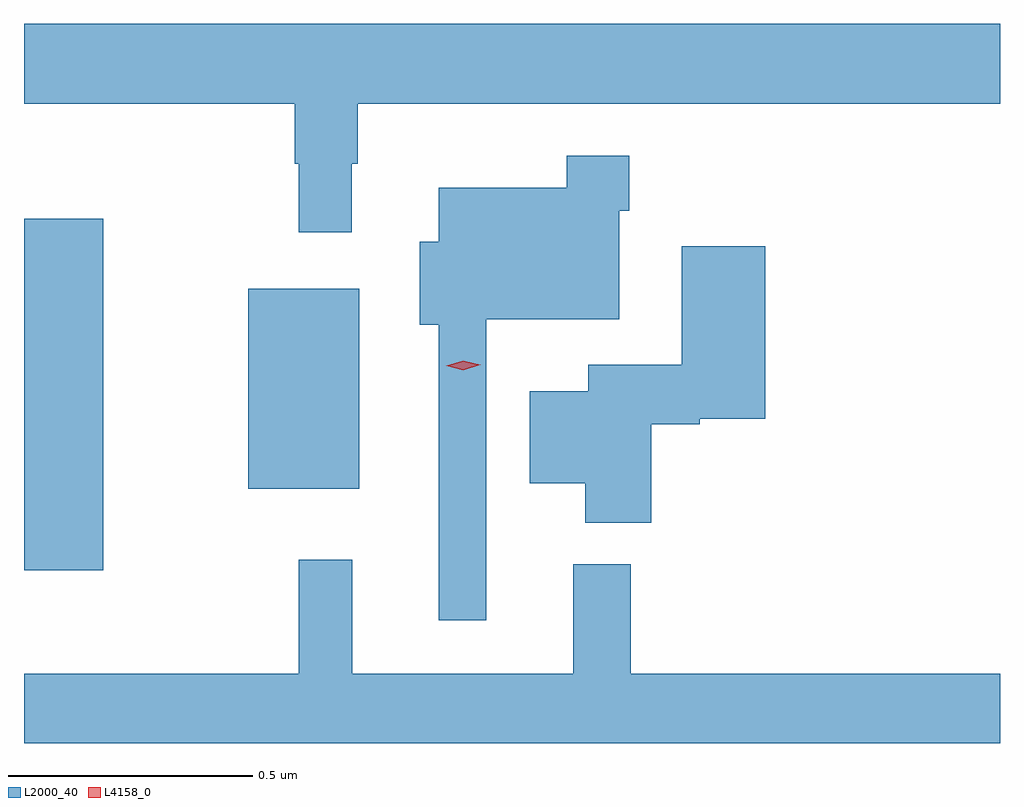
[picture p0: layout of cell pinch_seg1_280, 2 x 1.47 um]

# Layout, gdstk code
import gdstk
lib = gdstk.Library(unit=1e-6, precision=1e-09)
def R(c, l, rs):  # rectangles x0, y0, x1, y1
    for r in rs: c.add(gdstk.rectangle(r[:2], r[2:], *l))
def P(c, l, *ps):  # polygons
    for p in ps: c.add(gdstk.Polygon(p, *l))
L2000_40 = (2000, 40)
L4158_0 = (4158, 0)

pinch_seg1_280 = lib.new_cell('pinch_seg1_280')
R(pinch_seg1_280, L2000_40, [(926.345,556.104,926.506,556.825), (926.804,556.271,927.031,556.681)])
P(pinch_seg1_280, L2000_40, [(926.344,557.06),(926.899,557.06),(926.899,556.937),(926.907,556.937),(926.907,556.797),(927.016,556.797),(927.016,556.937),(927.028,556.937),(927.028,557.06),(928.344,557.06),(928.344,557.224),(926.344,557.224)],
  [(927.291,556.619),(927.564,556.619),(927.564,556.841),(927.584,556.841),(927.584,556.954),(927.456,556.954),(927.456,556.888),(927.194,556.888),(927.194,556.777),(927.155,556.777),(927.155,556.607),(927.194,556.607),(927.194,556.002),(927.291,556.002)],
  [(927.629,556.403),(927.729,556.403),(927.729,556.415),(927.863,556.415),(927.863,556.768),(927.692,556.768),(927.692,556.525),(927.5,556.525),(927.5,556.471),(927.38,556.471),(927.38,556.283),(927.494,556.283),(927.494,556.202),(927.629,556.202)],
  [(928.344,555.892),(927.587,555.892),(927.587,556.117),(927.47,556.117),(927.47,555.892),(927.017,555.892),(927.017,556.126),(926.907,556.126),(926.907,555.892),(926.344,555.892),(926.344,555.75),(928.344,555.75)])
P(pinch_seg1_280, L4158_0, [(927.244,556.514),(927.209,556.523),(927.208,556.523),(927.209,556.523),(927.244,556.534),(927.279,556.525),(927.28,556.525),(927.279,556.525)])

lib.write_gds('pinch_seg1_280.gds')
